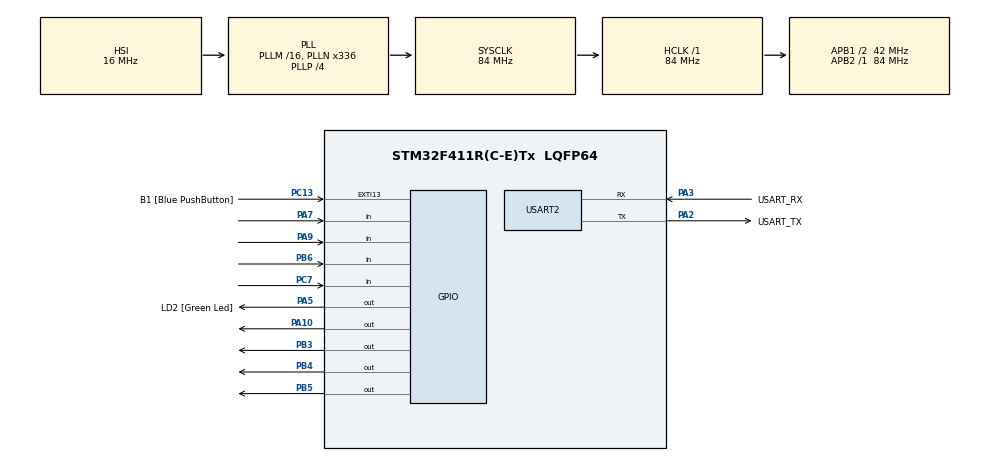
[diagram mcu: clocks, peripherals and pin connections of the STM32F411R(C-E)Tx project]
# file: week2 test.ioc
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Mcu.Family=STM32F4
Mcu.Name=STM32F411R(C-E)Tx
Mcu.Package=LQFP64
NVIC.PriorityGroup=NVIC_PRIORITYGROUP_0
PA10.GPIO_ModeDefaultOutputPP=GPIO_MODE_OUTPUT_OD
PA10.GPIO_PuPd=GPIO_NOPULL
PA10.PinState=GPIO_PIN_SET
PA10.Signal=GPIO_Output
PA13.GPIO_Label=TMS
PA13.Mode=Serial_Wire
PA13.Signal=SYS_JTMS-SWDIO
PA14.GPIO_Label=TCK
PA14.Mode=Serial_Wire
PA14.Signal=SYS_JTCK-SWCLK
PA2.GPIO_Label=USART_TX
PA2.Mode=Asynchronous
PA2.Signal=USART2_TX
PA3.GPIO_Label=USART_RX
PA3.Mode=Asynchronous
PA3.Signal=USART2_RX
PA5.GPIO_Label=LD2 [Green Led]
PA5.Signal=GPIO_Output
PA7.GPIO_PuPd=GPIO_PULLUP
PA7.Signal=GPIO_Input
PA9.GPIO_PuPd=GPIO_PULLUP
PA9.Signal=GPIO_Input
PB3.GPIO_ModeDefaultOutputPP=GPIO_MODE_OUTPUT_OD
PB3.GPIO_PuPd=GPIO_NOPULL
PB3.PinState=GPIO_PIN_SET
PB3.Signal=GPIO_Output
PB4.GPIO_ModeDefaultOutputPP=GPIO_MODE_OUTPUT_OD
PB4.GPIO_PuPd=GPIO_NOPULL
PB4.PinState=GPIO_PIN_SET
PB4.Signal=GPIO_Output
PB5.GPIO_ModeDefaultOutputPP=GPIO_MODE_OUTPUT_OD
PB5.GPIO_PuPd=GPIO_NOPULL
PB5.PinState=GPIO_PIN_SET
PB5.Signal=GPIO_Output
PB6.GPIO_PuPd=GPIO_PULLUP
PB6.Signal=GPIO_Input
PC13-ANTI_TAMP.GPIO_Label=B1 [Blue PushButton]
PC13-ANTI_TAMP.GPIO_ModeDefaultEXTI=GPIO_MODE_IT_FALLING
PC13-ANTI_TAMP.Signal=GPXTI13
PC14-OSC32_IN.Mode=LSE-External-Oscillator
PC14-OSC32_IN.Signal=RCC_OSC32_IN
PC15-OSC32_OUT.Mode=LSE-External-Oscillator
PC15-OSC32_OUT.Signal=RCC_OSC32_OUT
PC7.GPIO_PuPd=GPIO_PULLUP
PC7.Signal=GPIO_Input
PH0\ -\ OSC_IN.Mode=HSE-External-Clock-Source
PH0\ -\ OSC_IN.Signal=RCC_OSC_IN
PH1\ -\ OSC_OUT.Mode=HSE-External-Clock-Source
PH1\ -\ OSC_OUT.Signal=RCC_OSC_OUT
ProjectManager.HeapSize=0x200
ProjectManager.StackSize=0x400
ProjectManager.TargetToolchain=STM32CubeIDE
RCC.48MHZClocksFreq_Value=84000000
RCC.AHBFreq_Value=84000000
RCC.APB1CLKDivider=RCC_HCLK_DIV2
RCC.APB1Freq_Value=42000000
RCC.APB1TimFreq_Value=84000000
RCC.APB2Freq_Value=84000000
RCC.APB2TimFreq_Value=84000000
RCC.CortexFreq_Value=84000000
RCC.FLatency-AdvancedSettings=FLASH_LATENCY_2
RCC.HCLKFreq_Value=84000000
RCC.HSE_VALUE=8000000
RCC.HSI_VALUE=16000000
RCC.PLLN=336
RCC.PLLP=RCC_PLLP_DIV4
RCC.SYSCLKFreq_VALUE=84000000
RCC.SYSCLKSource=RCC_SYSCLKSOURCE_PLLCLK
RCC.VCOOutputFreq_Value=336000000
USART2.VirtualMode=VM_ASYNC
board=NUCLEO-F411RE

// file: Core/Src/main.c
/* USER CODE BEGIN Header */
/**
  ******************************************************************************
  * @file           : main.c
  * @brief          : Main program body
  ******************************************************************************
  * @attention
  *
  * Copyright (c) 2023 STMicroelectronics.
  * All rights reserved.
  *
  * This software is licensed under terms that can be found in the LICENSE file
  * in the root directory of this software component.
  * If no LICENSE file comes with this software, it is provided AS-IS.
  *
  ******************************************************************************
  */
/* USER CODE END Header */
#include "main.h"

UART_HandleTypeDef huart2;

/* USER CODE BEGIN PV */
typedef struct _PortPin
{
	GPIO_TypeDef* PORT;
	uint16_t PIN;
} PortPin;

PortPin R[4] =
{
		{ GPIOA,GPIO_PIN_10 },
		{ GPIOB,GPIO_PIN_3 },
		{ GPIOB,GPIO_PIN_5 },
		{ GPIOB,GPIO_PIN_4 }
};
PortPin L[4] =
{
		{ GPIOA,GPIO_PIN_9 },
		{ GPIOC,GPIO_PIN_7 },
		{ GPIOB,GPIO_PIN_6 },
		{ GPIOA,GPIO_PIN_7 }
};

uint16_t ButtonMatrix =0;
uint16_t BeforeButton = 0;
uint16_t state = 0;
/* USER CODE END PV */

void SystemClock_Config(void);
static void MX_GPIO_Init(void);
static void MX_USART2_UART_Init(void);
/* USER CODE BEGIN PFP */
void ReadMatrixButton_1Row();

/* USER CODE END PFP */

int main(void)
{

  /* MCU Configuration--------------------------------------------------------*/

  /* Reset of all peripherals, Initializes the Flash interface and the Systick. */
  HAL_Init();

  /* Configure the system clock */
  SystemClock_Config();

  /* Initialize all configured peripherals */
  MX_GPIO_Init();
  MX_USART2_UART_Init();

  /* Infinite loop */
  /* USER CODE BEGIN WHILE */
  //static uint32_t timestamp=0;
  while (1)
  {
    /* USER CODE END WHILE */

    /* USER CODE BEGIN 3 */
	  static uint32_t timestamp=0;
	  	  if(HAL_GetTick()>=timestamp)
	  	  {
	  		  timestamp =HAL_GetTick() + 10;
	  		  ReadMatrixButton_1Row();

	  		  if( BeforeButton == 0 && ButtonMatrix >= 1)
	  		  {
	  			  switch (state)
	  			  {
	  			  case 0:
	  			  	  	  if ( ButtonMatrix == 32)
	  			  	  	  {
								state = 1;
	  			  	  	  }
					      else
	  			  	  	  {
							    state = 12;
	  			  	  	  }
				  break;

	  			  case 1:
						  if ( ButtonMatrix == 8192)
						  {
								state = 2;
						  }
						  else
						  {
								state = 12;
						  }
				  break;
	  			  case 2:
						  if ( ButtonMatrix == 64)
						  {
								state = 3;
						  }
						  else
						  {
								state = 12;
						  }

				  break;
	  			  case 3:
	  			  	  	  if ( ButtonMatrix == 8192)
	  			  	  	  {
								state = 4;
	  			  	  	  }
					      else
	  			  	  	  {
							    state = 12;
	  			  	  	  }
				  break;

	  			  case 4:
						  if ( ButtonMatrix == 32768)
						  {
								state = 5;
						  }
						  else
						  {
								state = 12;
						  }
				  break;
	  			  case 5:
						  if ( ButtonMatrix == 512)
						  {
								state = 6;
						  }
						  else
						  {
								state = 12;
						  }

				  break;
	  			  case 6:
	  			  	  	  if ( ButtonMatrix == 32768)
	  			  	  	  {
								state = 7;
	  			  	  	  }
					      else
	  			  	  	  {
							    state = 12;
	  			  	  	  }
				  break;

	  			  case 7:
						  if ( ButtonMatrix == 32768)
						  {
								state = 8;
						  }
						  else
						  {
								state = 12;
						  }
				  break;
	  			  case 8:
						  if ( ButtonMatrix == 32768)
						  {
								state = 9;
						  }
						  else
						  {
								state = 12;
						  }

				  break;
	  			  case 9:
	  			  	  	  if ( ButtonMatrix == 512)
	  			  	  	  {
								state = 10;
	  			  	  	  }
					      else
	  			  	  	  {
							    state = 12;
	  			  	  	  }
				  break;

	  			  case 10:
						  if ( ButtonMatrix == 8192)
						  {
								state = 11;
						  }
						  else
						  {
								state = 12;
						  }
				  break;
	  			  case 11:
						  if ( ButtonMatrix == 8)
						  {
							  HAL_GPIO_WritePin(GPIOA, GPIO_PIN_5, GPIO_PIN_SET);
								state = 12;

						  }
						  else
						  {
								state = 12;
						  }

				  break;
	  			  case 12:
	  				if ( ButtonMatrix == 1)
						  {
							  HAL_GPIO_WritePin(GPIOA, GPIO_PIN_5, GPIO_PIN_RESET);
								state = 0;

						  }
						  else
						  {
								state = 12;
						  }

				  break;

	  			  }

	  		  }
	  		BeforeButton = ButtonMatrix;
	  	  }
  }
  /* USER CODE END 3 */
}

void SystemClock_Config(void)
{
  RCC_OscInitTypeDef RCC_OscInitStruct = {0};
  RCC_ClkInitTypeDef RCC_ClkInitStruct = {0};

  /** Configure the main internal regulator output voltage
  */
  __HAL_RCC_PWR_CLK_ENABLE();
  __HAL_PWR_VOLTAGESCALING_CONFIG(PWR_REGULATOR_VOLTAGE_SCALE1);

  /** Initializes the RCC Oscillators according to the specified parameters
  * in the RCC_OscInitTypeDef structure.
  */
  RCC_OscInitStruct.OscillatorType = RCC_OSCILLATORTYPE_HSI;
  RCC_OscInitStruct.HSIState = RCC_HSI_ON;
  RCC_OscInitStruct.HSICalibrationValue = RCC_HSICALIBRATION_DEFAULT;
  RCC_OscInitStruct.PLL.PLLState = RCC_PLL_ON;
  RCC_OscInitStruct.PLL.PLLSource = RCC_PLLSOURCE_HSI;
  RCC_OscInitStruct.PLL.PLLM = 16;
  RCC_OscInitStruct.PLL.PLLN = 336;
  RCC_OscInitStruct.PLL.PLLP = RCC_PLLP_DIV4;
  RCC_OscInitStruct.PLL.PLLQ = 4;
  if (HAL_RCC_OscConfig(&RCC_OscInitStruct) != HAL_OK)
  {
    Error_Handler();
  }

  /** Initializes the CPU, AHB and APB buses clocks
  */
  RCC_ClkInitStruct.ClockType = RCC_CLOCKTYPE_HCLK|RCC_CLOCKTYPE_SYSCLK
                              |RCC_CLOCKTYPE_PCLK1|RCC_CLOCKTYPE_PCLK2;
  RCC_ClkInitStruct.SYSCLKSource = RCC_SYSCLKSOURCE_PLLCLK;
  RCC_ClkInitStruct.AHBCLKDivider = RCC_SYSCLK_DIV1;
  RCC_ClkInitStruct.APB1CLKDivider = RCC_HCLK_DIV2;
  RCC_ClkInitStruct.APB2CLKDivider = RCC_HCLK_DIV1;

  if (HAL_RCC_ClockConfig(&RCC_ClkInitStruct, FLASH_LATENCY_2) != HAL_OK)
  {
    Error_Handler();
  }
}

static void MX_USART2_UART_Init(void)
{

  huart2.Instance = USART2;
  huart2.Init.BaudRate = 115200;
  huart2.Init.WordLength = UART_WORDLENGTH_8B;
  huart2.Init.StopBits = UART_STOPBITS_1;
  huart2.Init.Parity = UART_PARITY_NONE;
  huart2.Init.Mode = UART_MODE_TX_RX;
  huart2.Init.HwFlowCtl = UART_HWCONTROL_NONE;
  huart2.Init.OverSampling = UART_OVERSAMPLING_16;
  if (HAL_UART_Init(&huart2) != HAL_OK)
  {
    Error_Handler();
  }

}

static void MX_GPIO_Init(void)
{
  GPIO_InitTypeDef GPIO_InitStruct = {0};

  /* GPIO Ports Clock Enable */
  __HAL_RCC_GPIOC_CLK_ENABLE();
  __HAL_RCC_GPIOH_CLK_ENABLE();
  __HAL_RCC_GPIOA_CLK_ENABLE();
  __HAL_RCC_GPIOB_CLK_ENABLE();

  /*Configure GPIO pin Output Level */
  HAL_GPIO_WritePin(LD2_GPIO_Port, LD2_Pin, GPIO_PIN_RESET);

  /*Configure GPIO pin Output Level */
  HAL_GPIO_WritePin(GPIOA, GPIO_PIN_10, GPIO_PIN_SET);

  /*Configure GPIO pin Output Level */
  HAL_GPIO_WritePin(GPIOB, GPIO_PIN_3|GPIO_PIN_4|GPIO_PIN_5, GPIO_PIN_SET);

  /*Configure GPIO pin : B1_Pin */
  GPIO_InitStruct.Pin = B1_Pin;
  GPIO_InitStruct.Mode = GPIO_MODE_IT_FALLING;
  GPIO_InitStruct.Pull = GPIO_NOPULL;
  HAL_GPIO_Init(B1_GPIO_Port, &GPIO_InitStruct);

  /*Configure GPIO pin : LD2_Pin */
  GPIO_InitStruct.Pin = LD2_Pin;
  GPIO_InitStruct.Mode = GPIO_MODE_OUTPUT_PP;
  GPIO_InitStruct.Pull = GPIO_NOPULL;
  GPIO_InitStruct.Speed = GPIO_SPEED_FREQ_LOW;
  HAL_GPIO_Init(LD2_GPIO_Port, &GPIO_InitStruct);

  /*Configure GPIO pins : PA7 PA9 */
  GPIO_InitStruct.Pin = GPIO_PIN_7|GPIO_PIN_9;
  GPIO_InitStruct.Mode = GPIO_MODE_INPUT;
  GPIO_InitStruct.Pull = GPIO_PULLUP;
  HAL_GPIO_Init(GPIOA, &GPIO_InitStruct);

  /*Configure GPIO pin : PC7 */
  GPIO_InitStruct.Pin = GPIO_PIN_7;
  GPIO_InitStruct.Mode = GPIO_MODE_INPUT;
  GPIO_InitStruct.Pull = GPIO_PULLUP;
  HAL_GPIO_Init(GPIOC, &GPIO_InitStruct);

  /*Configure GPIO pin : PA10 */
  GPIO_InitStruct.Pin = GPIO_PIN_10;
  GPIO_InitStruct.Mode = GPIO_MODE_OUTPUT_OD;
  GPIO_InitStruct.Pull = GPIO_NOPULL;
  GPIO_InitStruct.Speed = GPIO_SPEED_FREQ_LOW;
  HAL_GPIO_Init(GPIOA, &GPIO_InitStruct);

  /*Configure GPIO pins : PB3 PB4 PB5 */
  GPIO_InitStruct.Pin = GPIO_PIN_3|GPIO_PIN_4|GPIO_PIN_5;
  GPIO_InitStruct.Mode = GPIO_MODE_OUTPUT_OD;
  GPIO_InitStruct.Pull = GPIO_NOPULL;
  GPIO_InitStruct.Speed = GPIO_SPEED_FREQ_LOW;
  HAL_GPIO_Init(GPIOB, &GPIO_InitStruct);

  /*Configure GPIO pin : PB6 */
  GPIO_InitStruct.Pin = GPIO_PIN_6;
  GPIO_InitStruct.Mode = GPIO_MODE_INPUT;
  GPIO_InitStruct.Pull = GPIO_PULLUP;
  HAL_GPIO_Init(GPIOB, &GPIO_InitStruct);

}

/* USER CODE BEGIN 4 */

void ReadMatrixButton_1Row()
{
	static uint8_t X = 0 ;
	register int i;
	for(i=0; i<4; i++)
	{
		if(HAL_GPIO_ReadPin(L[i].PORT, L[i].PIN))
				{
					ButtonMatrix &= ~(1<<(X*4+i));

				}
				else
				{
					ButtonMatrix |= 1<<(X*4+i);
				}
	}
	HAL_GPIO_WritePin(R[X].PORT, R[X].PIN, 1);
	HAL_GPIO_WritePin(R[(X+1)%4].PORT, R[(X+1)%4].PIN, 0);
	X++;
	X%=4;
}
/* USER CODE END 4 */

void Error_Handler(void)
{
  __disable_irq();
  while (1)
  {
  }
}
